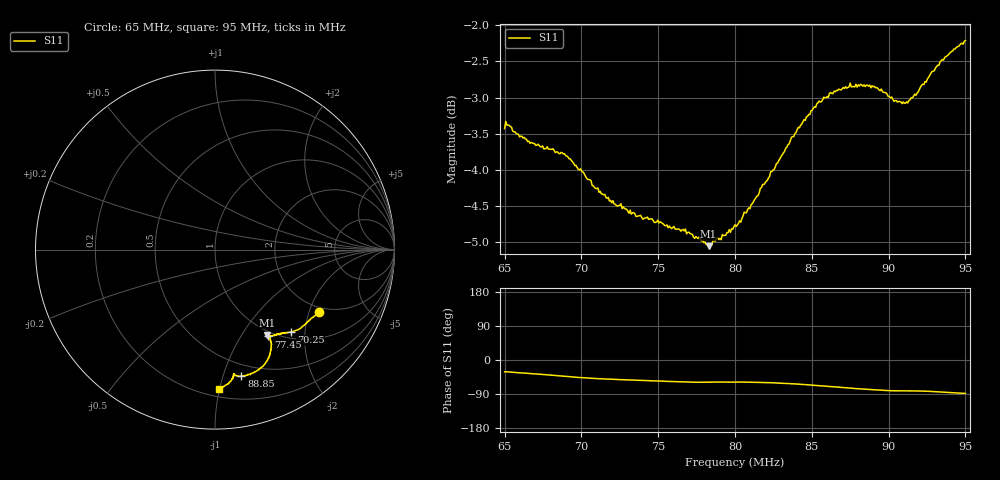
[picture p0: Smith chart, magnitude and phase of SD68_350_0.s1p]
! NanoVNA-App
! Date: 2025-08-09 12:54:57
! Start: 65MHz Stop: 95MHz Points: 401
! S-Parameter data: F S11
# Hz S RI R 50
!  Frequency  S11_Real  S11_Imag
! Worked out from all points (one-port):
!   401 points, 65 MHz to 95 MHz, reference 50 ohm
!   lowest |S11| = -5.1 dB at 78.28 MHz (marker M1), VSWR 3.53, Z = 47.3 - j65.4 ohm
!   |S11| at or under -10 dB: nowhere
!   S11 on the Smith chart (normalised r, x): 65 MHz: 1.82, -2.32; 70.25 MHz: 1.13, -1.70; 77.45 MHz: 0.93, -1.33; 88.85 MHz: 0.40, -1.15; 95 MHz: 0.26, -1.00
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6.5e7  0.5769 -0.3481
6.5225e7  0.5779 -0.3538
6.665e7  0.5345 -0.384
6.875e7  0.4783 -0.4373
6.92e7  0.4625 -0.4454
7.025e7  0.4252 -0.4579
7.1e7  0.4015 -0.4624
7.25e7  0.3695 -0.4678
7.625e7  0.3099 -0.4832
7.745e7  0.2957 -0.4841
7.8275e7  0.2921 -0.4761
8e7  0.3023 -0.4926
8.0825e7  0.3093 -0.5051
8.2025e7  0.314 -0.534
8.375e7  0.3043 -0.5914
8.4575e7  0.2891 -0.6184
8.525e7  0.2729 -0.6414
8.63e7  0.239 -0.6713
8.75e7  0.1974 -0.697
8.885e7  0.1476 -0.7037
8.9525e7  0.1272 -0.7062
9.0125e7  0.1092 -0.699
9.0725e7  0.1057 -0.6956
9.125e7  0.1028 -0.6943
9.215e7  0.1017 -0.7147
9.29e7  0.0876 -0.7331
9.41e7  0.0535 -0.76
9.5e7  0.0248 -0.775
